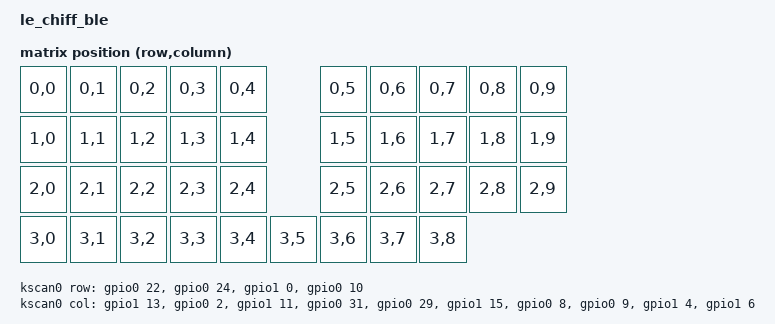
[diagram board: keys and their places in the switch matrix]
/*
 * Copyright (c) 2020 The ZMK Contributors
 *
 * SPDX-License-Identifier: MIT
 */

/dts-v1/;
#include <nordic/nrf52840_qiaa.dtsi>
#include <dt-bindings/led/led.h>
#include <dt-bindings/zmk/matrix_transform.h>
#include "le_chiff_ble-layouts.dtsi"

/ {
	model = "le_chiff_ble";
	compatible = "eyelash,le_chiff_ble";

	chosen {
		zephyr,code-partition = &code_partition;
		zephyr,sram = &sram0;
		zephyr,flash = &flash0;
		zmk,kscan = &kscan0;
		zmk,physical-layout = &le_chiff_ble_layout;
		zmk,battery = &vbatt;
		zmk,backlight = &backlight;
	};
	backlight: pwmleds {
    	compatible = "pwm-leds";
 		pwm_led_0: pwm_led_0 {
    	  pwms = <&pwm0 0 PWM_MSEC(1) PWM_POLARITY_NORMAL>;
    	};
    	pwm_led_1: pwm_led_1 {
    	    pwms = <&pwm0 1 PWM_MSEC(1) PWM_POLARITY_NORMAL>;
    	};
	};
	default_transform:keymap_transform_0 {
		compatible = "zmk,matrix-transform";
		rows = <4>;
		columns = <10>;
		map = <
		RC(0,0) RC(0,1) RC(0,2) RC(0,3) RC(0,4)  		  RC(0,5) RC(0,6) RC(0,7) RC(0,8) RC(0,9)
		RC(1,0) RC(1,1) RC(1,2) RC(1,3) RC(1,4) 		  RC(1,5) RC(1,6) RC(1,7) RC(1,8) RC(1,9)
		RC(2,0) RC(2,1) RC(2,2) RC(2,3) RC(2,4)			  RC(2,5) RC(2,6) RC(2,7) RC(2,8) RC(2,9)
		RC(3,0) RC(3,1) RC(3,2) RC(3,3) RC(3,4) RC(3,5) RC(3,6) RC(3,7) RC(3,8)
		>;

	};

	kscan0: kscan {
		compatible = "zmk,kscan-gpio-matrix";
		label = "KSCAN";

		diode-direction = "col2row";
		col-gpios
			= <&gpio1 13 GPIO_ACTIVE_HIGH>
			, <&gpio0 2 GPIO_ACTIVE_HIGH>
			, <&gpio1 11 GPIO_ACTIVE_HIGH>
			, <&gpio0 31 GPIO_ACTIVE_HIGH>
			, <&gpio0 29 GPIO_ACTIVE_HIGH>
			, <&gpio1 15 GPIO_ACTIVE_HIGH>
			, <&gpio0 8 GPIO_ACTIVE_HIGH>
			, <&gpio0 9 GPIO_ACTIVE_HIGH>
			, <&gpio1 4 GPIO_ACTIVE_HIGH>
			, <&gpio1 6 GPIO_ACTIVE_HIGH>
			;
		row-gpios
			= <&gpio0 22 (GPIO_ACTIVE_HIGH | GPIO_PULL_DOWN)>
			, <&gpio0 24 (GPIO_ACTIVE_HIGH | GPIO_PULL_DOWN)>
			, <&gpio1 0  (GPIO_ACTIVE_HIGH | GPIO_PULL_DOWN)>
			, <&gpio0 10 (GPIO_ACTIVE_HIGH | GPIO_PULL_DOWN)>
			;
	};

    EXT_POWER {
        compatible = "zmk,ext-power-generic";
        control-gpios = <&gpio0 13 GPIO_ACTIVE_HIGH>;
        init-delay-ms = <50>;
    };

 vbatt: vbatt {
        compatible = "zmk,battery-nrf-vddh";
    };
	leds {
        compatible = "gpio-leds";
        red_led: led_0 {
            gpios = <&gpio0 15 GPIO_ACTIVE_HIGH>;
            label = "Red LED";
		};
    };
};

&adc {
	status = "okay";
};

&gpiote {
	status = "okay";
};

&gpio0 {
	status = "okay";
};

&gpio1 {
	status = "okay";
};

&usbd {
    status = "okay";
    cdc_acm_uart: cdc_acm_uart {
        compatible = "zephyr,cdc-acm-uart";
    };
};

&flash0 {
	/*
	 * For more information, see:
	 * http://docs.zephyrproject.org/latest/devices/dts/flash_partitions.html
	 */
	partitions {
		compatible = "fixed-partitions";
		#address-cells = <1>;
		#size-cells = <1>;

		sd_partition: partition@0 {
			label = "mbr";
			reg = <0x00000000 0x00001000>;
		};
		code_partition: partition@1000 {
			label = "code_partition";
			reg = <0x00001000 0x000d3000>;
		};

		storage_partition: partition@d4000 {
			label = "storage";
			reg = <0x000d4000 0x00020000>;
		};

		boot_partition: partition@f4000 {
			label = "adafruit_boot";
			reg = <0x000f4000 0x0000c000>;
		};
	};
};

&pinctrl {

    spi0_default: spi0_default {
        group1 {
            psels = <NRF_PSEL(SPIM_SCK, 0, 20)>,
                <NRF_PSEL(SPIM_MOSI, 0, 17)>,
                <NRF_PSEL(SPIM_MISO, 0, 25)>;
        };
    };

    spi0_sleep: spi0_sleep {
        group1 {
            psels = <NRF_PSEL(SPIM_SCK, 0, 20)>,
                <NRF_PSEL(SPIM_MOSI, 0, 17)>,
                <NRF_PSEL(SPIM_MISO, 0, 25)>;
            low-power-enable;
        };
    };
    pwm0_default: pwm0_default {
        group1 {
            psels = <NRF_PSEL(PWM_OUT0, 0, 11)>;
        };
    };
    pwm0_sleep: pwm0_sleep {
        group1 {
            psels = <NRF_PSEL(PWM_OUT0, 0, 11)>;
            low-power-enable;
        };
    };
};

nice_view_spi: &spi0 {
    compatible = "nordic,nrf-spim";
    pinctrl-0 = <&spi0_default>;
    pinctrl-1 = <&spi0_sleep>;
    pinctrl-names = "default", "sleep";
    cs-gpios = <&gpio0 6 GPIO_ACTIVE_HIGH>;
};

&pwm0 {
    status = "okay";
    pinctrl-0 = <&pwm0_default>;
    pinctrl-1 = <&pwm0_sleep>;
    pinctrl-names = "default", "sleep";
};

zephyr_udc0: &usbd {
    compatible = "nordic,nrf-usbd";
    status = "okay";
};
